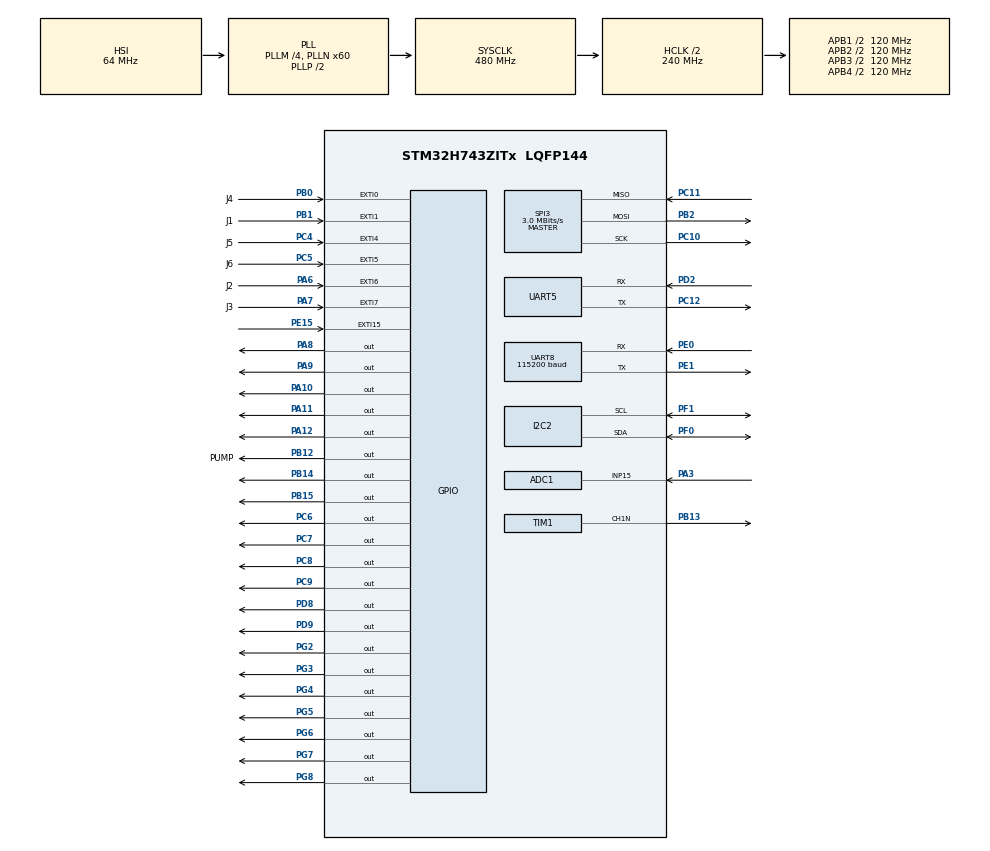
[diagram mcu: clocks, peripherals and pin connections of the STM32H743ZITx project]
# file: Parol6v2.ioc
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ADC1.Channel-2\#ChannelRegularConversion=ADC_CHANNEL_15
ADC1.NbrOfConversionFlag=1
ADC1.OffsetNumber-2\#ChannelRegularConversion=ADC_OFFSET_NONE
ADC1.OffsetSignedSaturation-2\#ChannelRegularConversion=DISABLE
ADC1.Rank-2\#ChannelRegularConversion=1
ADC1.SamplingTime-2\#ChannelRegularConversion=ADC_SAMPLETIME_810CYCLES_5
ADC1.master=1
CORTEX_M7.default_mode_Activation=1
Dma.Request0=SPI3_TX
Dma.Request1=SPI3_RX
Dma.SPI3_RX.1.Direction=DMA_PERIPH_TO_MEMORY
Dma.SPI3_RX.1.EventEnable=DISABLE
Dma.SPI3_RX.1.FIFOMode=DMA_FIFOMODE_DISABLE
Dma.SPI3_RX.1.Instance=DMA1_Stream3
Dma.SPI3_RX.1.MemDataAlignment=DMA_MDATAALIGN_BYTE
Dma.SPI3_RX.1.MemInc=DMA_MINC_ENABLE
Dma.SPI3_RX.1.Mode=DMA_NORMAL
Dma.SPI3_RX.1.PeriphDataAlignment=DMA_PDATAALIGN_BYTE
Dma.SPI3_RX.1.PeriphInc=DMA_PINC_DISABLE
Dma.SPI3_RX.1.Polarity=HAL_DMAMUX_REQ_GEN_RISING
Dma.SPI3_RX.1.Priority=DMA_PRIORITY_LOW
Dma.SPI3_RX.1.RequestNumber=1
Dma.SPI3_RX.1.SignalID=NONE
Dma.SPI3_RX.1.SyncEnable=DISABLE
Dma.SPI3_RX.1.SyncPolarity=HAL_DMAMUX_SYNC_NO_EVENT
Dma.SPI3_RX.1.SyncRequestNumber=1
Dma.SPI3_RX.1.SyncSignalID=NONE
Dma.SPI3_TX.0.Direction=DMA_MEMORY_TO_PERIPH
Dma.SPI3_TX.0.EventEnable=DISABLE
Dma.SPI3_TX.0.FIFOMode=DMA_FIFOMODE_DISABLE
Dma.SPI3_TX.0.Instance=DMA1_Stream2
Dma.SPI3_TX.0.MemDataAlignment=DMA_MDATAALIGN_BYTE
Dma.SPI3_TX.0.MemInc=DMA_MINC_ENABLE
Dma.SPI3_TX.0.Mode=DMA_NORMAL
Dma.SPI3_TX.0.PeriphDataAlignment=DMA_PDATAALIGN_BYTE
Dma.SPI3_TX.0.PeriphInc=DMA_PINC_DISABLE
Dma.SPI3_TX.0.Polarity=HAL_DMAMUX_REQ_GEN_RISING
Dma.SPI3_TX.0.Priority=DMA_PRIORITY_LOW
Dma.SPI3_TX.0.RequestNumber=1
Dma.SPI3_TX.0.SignalID=NONE
Dma.SPI3_TX.0.SyncEnable=DISABLE
Dma.SPI3_TX.0.SyncPolarity=HAL_DMAMUX_SYNC_NO_EVENT
Dma.SPI3_TX.0.SyncRequestNumber=1
Dma.SPI3_TX.0.SyncSignalID=NONE
I2C2.I2C_Fall_Time=100
I2C2.I2C_Rise_Time=100
I2C2.OwnAddress=48
I2C2.Timing=0x30A175AB
Mcu.Family=STM32H7
Mcu.Name=STM32H743ZITx
Mcu.Package=LQFP144
NVIC.ADC_IRQn=true\:0\:0\:false\:false\:true\:true\:true\:true
NVIC.DMA1_Stream2_IRQn=true\:0\:0\:false\:false\:true\:false\:true\:true
NVIC.DMA1_Stream3_IRQn=true\:0\:0\:false\:false\:true\:false\:true\:true
NVIC.EXTI0_IRQn=true\:0\:0\:false\:false\:true\:true\:true\:true
NVIC.EXTI15_10_IRQn=true\:0\:0\:false\:false\:true\:true\:true\:true
NVIC.EXTI1_IRQn=true\:0\:0\:false\:false\:true\:true\:true\:true
NVIC.EXTI4_IRQn=true\:0\:0\:false\:false\:true\:true\:true\:true
NVIC.EXTI9_5_IRQn=true\:0\:0\:false\:false\:true\:true\:true\:true
NVIC.I2C2_ER_IRQn=true\:0\:0\:false\:false\:true\:true\:true\:true
NVIC.I2C2_EV_IRQn=true\:0\:0\:false\:false\:true\:true\:true\:true
NVIC.PriorityGroup=NVIC_PRIORITYGROUP_4
NVIC.SPI3_IRQn=true\:0\:0\:false\:false\:true\:true\:true\:true
NVIC.UART5_IRQn=true\:0\:0\:false\:false\:true\:true\:true\:true
NVIC.UART8_IRQn=true\:0\:0\:false\:false\:true\:true\:true\:true
PA10.GPIO_Speed=GPIO_SPEED_FREQ_HIGH
PA10.PinState=GPIO_PIN_SET
PA10.Signal=GPIO_Output
PA11.GPIO_PuPd=GPIO_NOPULL
PA11.GPIO_Speed=GPIO_SPEED_FREQ_HIGH
PA11.PinState=GPIO_PIN_SET
PA11.Signal=GPIO_Output
PA12.GPIO_PuPd=GPIO_NOPULL
PA12.GPIO_Speed=GPIO_SPEED_FREQ_HIGH
PA12.PinState=GPIO_PIN_SET
PA12.Signal=GPIO_Output
PA3.Signal=ADCx_INP15
PA6.GPIO_Label=J2
PA6.GPIO_ModeDefaultEXTI=GPIO_MODE_IT_RISING_FALLING
PA6.Signal=GPXTI6
PA7.GPIO_Label=J3
PA7.GPIO_ModeDefaultEXTI=GPIO_MODE_IT_RISING_FALLING
PA7.Signal=GPXTI7
PA8.GPIO_PuPd=GPIO_NOPULL
PA8.PinState=GPIO_PIN_RESET
PA8.Signal=GPIO_Output
PA9.GPIO_Speed=GPIO_SPEED_FREQ_HIGH
PA9.PinState=GPIO_PIN_SET
PA9.Signal=GPIO_Output
PB0.GPIO_Label=J4
PB0.GPIO_ModeDefaultEXTI=GPIO_MODE_IT_RISING_FALLING
PB0.Signal=GPXTI0
PB1.GPIO_Label=J1
PB1.GPIO_ModeDefaultEXTI=GPIO_MODE_IT_RISING_FALLING
PB1.Signal=GPXTI1
PB12.GPIO_Label=PUMP
PB12.Signal=GPIO_Output
PB13.Mode=PWM Generation1 CH1N
PB13.Signal=TIM1_CH1N
PB14.Signal=GPIO_Output
PB15.Signal=GPIO_Output
PB2.Mode=Full_Duplex_Master
PB2.Signal=SPI3_MOSI
PC10.GPIO_PuPd=GPIO_PULLUP
PC10.GPIO_Speed=GPIO_SPEED_FREQ_LOW
PC10.Mode=Full_Duplex_Master
PC10.Signal=SPI3_SCK
PC11.Mode=Full_Duplex_Master
PC11.Signal=SPI3_MISO
PC12.Mode=Asynchronous
PC12.Signal=UART5_TX
PC4.GPIO_Label=J5
PC4.GPIO_ModeDefaultEXTI=GPIO_MODE_IT_RISING_FALLING
PC4.Signal=GPXTI4
PC5.GPIO_Label=J6
PC5.GPIO_ModeDefaultEXTI=GPIO_MODE_IT_RISING_FALLING
PC5.Signal=GPXTI5
PC6.GPIO_PuPd=GPIO_NOPULL
PC6.GPIO_Speed=GPIO_SPEED_FREQ_HIGH
PC6.PinState=GPIO_PIN_SET
PC6.Signal=GPIO_Output
PC7.GPIO_PuPd=GPIO_NOPULL
PC7.Signal=GPIO_Output
PC8.GPIO_PuPd=GPIO_PULLDOWN
PC8.Signal=GPIO_Output
PC9.GPIO_PuPd=GPIO_PULLDOWN
PC9.Signal=GPIO_Output
PD2.GPIO_PuPd=GPIO_PULLUP
PD2.Mode=Asynchronous
PD2.Signal=UART5_RX
PD8.Signal=GPIO_Output
PD9.Signal=GPIO_Output
PE0.Mode=Asynchronous
PE0.Signal=UART8_RX
PE1.Mode=Asynchronous
PE1.Signal=UART8_TX
PE15.GPIO_ModeDefaultEXTI=GPIO_MODE_IT_RISING_FALLING
PE15.GPIO_PuPd=GPIO_PULLDOWN
PE15.Signal=GPXTI15
PF0.GPIO_Pu=GPIO_PULLUP
PF0.Mode=I2C
PF0.Signal=I2C2_SDA
PF1.GPIO_Pu=GPIO_PULLUP
PF1.Mode=I2C
PF1.Signal=I2C2_SCL
PG2.GPIO_PuPd=GPIO_NOPULL
PG2.Signal=GPIO_Output
PG3.GPIO_PuPd=GPIO_NOPULL
PG3.Signal=GPIO_Output
PG4.GPIO_PuPd=GPIO_NOPULL
PG4.Signal=GPIO_Output
PG5.GPIO_PuPd=GPIO_NOPULL
PG5.Signal=GPIO_Output
PG6.GPIO_ModeDefaultOutputPP=GPIO_MODE_OUTPUT_PP
PG6.GPIO_PuPd=GPIO_NOPULL
PG6.GPIO_Speed=GPIO_SPEED_FREQ_HIGH
PG6.PinState=GPIO_PIN_SET
PG6.Signal=GPIO_Output
PG7.GPIO_ModeDefaultOutputPP=GPIO_MODE_OUTPUT_PP
PG7.GPIO_PuPd=GPIO_NOPULL
PG7.GPIO_Speed=GPIO_SPEED_FREQ_HIGH
PG7.PinState=GPIO_PIN_SET
PG7.Signal=GPIO_Output
PG8.GPIO_ModeDefaultOutputPP=GPIO_MODE_OUTPUT_PP
PG8.GPIO_PuPd=GPIO_NOPULL
PG8.GPIO_Speed=GPIO_SPEED_FREQ_HIGH
PG8.PinState=GPIO_PIN_SET
PG8.Signal=GPIO_Output
PH0-OSC_IN\ (PH0).Mode=HSE-External-Oscillator
PH0-OSC_IN\ (PH0).Signal=RCC_OSC_IN
PH1-OSC_OUT\ (PH1).Mode=HSE-External-Oscillator
PH1-OSC_OUT\ (PH1).Signal=RCC_OSC_OUT
ProjectManager.HeapSize=0x200
ProjectManager.StackSize=0x400
ProjectManager.TargetToolchain=STM32CubeIDE
RCC.ADCFreq_Value=80000000
RCC.APB1Freq_Value=120000000
RCC.APB2Freq_Value=120000000
RCC.APB3Freq_Value=120000000
RCC.APB4Freq_Value=120000000
RCC.CortexFreq_Value=480000000
RCC.D1PPRE=RCC_APB3_DIV2
RCC.D2PPRE1=RCC_APB1_DIV2
RCC.D2PPRE2=RCC_APB2_DIV2
RCC.D3PPRE=RCC_APB4_DIV2
RCC.DIVM1=4
RCC.DIVM2=4
RCC.DIVN1=60
RCC.DIVN2=10
RCC.DIVQ1=5
RCC.HCLKFreq_Value=240000000
RCC.HPRE=RCC_HCLK_DIV2
RCC.HSE_VALUE=20000000
RCC.PLL2FRACN=0
RCC.PLL3FRACN=0
RCC.PLLFRACN=0
RCC.SYSCLKFreq_VALUE=480000000
RCC.SYSCLKSource=RCC_SYSCLKSOURCE_PLLCLK
RCC.USBFreq_Value=192000000
SH.ADCx_INP15.0=ADC1_INP15,IN15-Single-Ended
SPI3.BaudRatePrescaler=SPI_BAUDRATEPRESCALER_64
SPI3.CLKPhase=SPI_PHASE_2EDGE
SPI3.CLKPolarity=SPI_POLARITY_HIGH
SPI3.CalculateBaudRate=3.0 MBits/s
SPI3.DataSize=SPI_DATASIZE_8BIT
SPI3.Direction=SPI_DIRECTION_2LINES
SPI3.Mode=SPI_MODE_MASTER
SPI3.NSSPMode=SPI_NSS_PULSE_DISABLE
SPI3.VirtualType=VM_MASTER
TIM1.Channel-PWM\ Generation1\ CH1N=TIM_CHANNEL_1
TIM1.Period=999
TIM1.Prescaler=790
UART5.SwapParam=UART_ADVFEATURE_SWAP_ENABLE
UART8.BaudRate=115200
VP_MEMORYMAP_VS_MEMORYMAP.Mode=CurAppReg
board=custom

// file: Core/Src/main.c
/* USER CODE BEGIN Header */
/**
  ******************************************************************************
  * @file           : main.c
  * @brief          : Main program body
  ******************************************************************************
  * @attention
  *
  * Copyright (c) 2025 STMicroelectronics.
  * All rights reserved.
  *
  * This software is licensed under terms that can be found in the LICENSE file
  * in the root directory of this software component.
  * If no LICENSE file comes with this software, it is provided AS-IS.
  *
  ******************************************************************************
  */
/* USER CODE END Header */
#include "main.h"
#include "adc.h"
#include "dma.h"
#include "i2c.h"
#include "spi.h"
#include "tim.h"
#include "usart.h"
#include "gpio.h"

/* USER CODE BEGIN Includes */
#include "tmc5160.h"
#include <stdlib.h>
#include <string.h>
#include <stdio.h>
#include <stdbool.h>
#include "homing.h"
#include "PAROL6.h"
#include "uart.h"
#include "startup.h"
#include "Variables_OT.h"
#include "Variables_GLOBAL.h"
#include "math.h"
#include "CONFIG.h"

/* USER CODE END Includes */

/* USER CODE BEGIN PV */

// Prototypy wewnętrzne (pomocnicze)
void UART8_Send_Internal(const uint8_t* data);
void UART5_Send_Internal(const uint8_t* data);

extern void UART_Direct_Send(const uint8_t* data);

/* USER CODE END PV */

void SystemClock_Config(void);
static void MPU_Config(void);
/* USER CODE BEGIN PFP */
void Parse_And_Execute_Command(uint8_t* data);
void SPI_WaitReady(void);
uint8_t send_message_dma(UART_HandleTypeDef* huart, const uint8_t* msg, uint16_t len);
void UART_Direct_Send(const uint8_t* data);
void Handle_Limit_Switches_Loop(void);
void Handle_ESTOP(void);
/* USER CODE END PFP */

/* USER CODE BEGIN 0 */
void CheckLimitSwitchesOnStartup(void)
{
    uint8_t* states[6] = {&s_j1, &s_j2, &s_j3, &s_j4, &s_j5, &s_j6};
    const uint8_t* msg_H[6] = {msg_h1, msg_h2, msg_h3, msg_h4, msg_h5, msg_h6};
    const uint8_t* msg_R[6] = {msg_r1, msg_r2, msg_r3, msg_r4, msg_r5, msg_r6};

    for (int i = 0; i < 6; i++)
    {
        GPIO_PinState pinState = HAL_GPIO_ReadPin(limit_switch_ports[i], limit_switch_pins[i]);

        if (pinState == GPIO_PIN_RESET)
        {
            *states[i] = 1;
            UART_Direct_Send(msg_H[i]);
        }
        else
        {
            *states[i] = 0;
            UART_Direct_Send(msg_R[i]);
        }
        HAL_Delay(10);
    }
}

void Handle_Position_Reporting(void)
{
    if (HAL_GetTick() - last_pos_report_time < 20) return;

    last_pos_report_time = HAL_GetTick();

    PAROL6_POSITION(current_report_motor_id);

    current_report_motor_id++;
    if (current_report_motor_id >= 6) {
        current_report_motor_id = 0;
    }
}

/* USER CODE END 0 */

int main(void)
{

  /* MPU Configuration--------------------------------------------------------*/
  MPU_Config();

  /* MCU Configuration--------------------------------------------------------*/

  /* Reset of all peripherals, Initializes the Flash interface and the Systick. */
  HAL_Init();

  /* Configure the system clock */
  SystemClock_Config();

  /* Initialize all configured peripherals */
  MX_GPIO_Init();
  MX_DMA_Init();
  MX_SPI3_Init();
  MX_UART8_Init();
  MX_ADC1_Init();
  MX_TIM1_Init();
  MX_I2C2_Init();
  MX_UART5_Init();
  /* USER CODE BEGIN 2 */
  ESTOP_prev_physical = (HAL_GPIO_ReadPin(GPIOE, GPIO_PIN_15) == GPIO_PIN_RESET) ? 1 : 0;
  ESTOP_TRIGGER = ESTOP_prev_physical;

  if(HAL_I2C_Slave_Receive_IT(&hi2c2, I2CrxBuffer, I2C_RX_SIZE) != HAL_OK)
  {
      Error_Handler();
  }

  HAL_ADC_Start(&hadc1);
  HAL_TIMEx_PWMN_Start(&htim1, TIM_CHANNEL_1);
  __HAL_TIM_SET_COMPARE(&htim1, TIM_CHANNEL_1, 0);
    HAL_Delay(500);

    HAL_GPIO_WritePin(GPIOD, GPIO_PIN_8, GPIO_PIN_SET);
    CheckLimitSwitchesOnStartup();

    if (HAL_UARTEx_ReceiveToIdle_IT(&huart8, rx_buffer, RX_BUFFER_SIZE) != HAL_OK)
      {
          Error_Handler();
      }

      if (HAL_UARTEx_ReceiveToIdle_IT(&huart5, rx_buffer5, RX_BUFFER_SIZE) != HAL_OK)
      {
          Error_Handler();
      }

    PAROL6_INIT();
    PAROL6_XACTUAL(0);
    PAROL6_EGRIP_INIT();

    uint8_t ESTOP_INITIAL = HAL_GPIO_ReadPin(GPIOE, GPIO_PIN_15);
    if(ESTOP_INITIAL == 0){
    	ESTOP_TRIGGER = 1;
    }

  /* USER CODE END 2 */

  /* Infinite loop */
  /* USER CODE BEGIN WHILE */
      while (1)
      {
    	  if(ESTOP_Present){
          Handle_ESTOP();
    	  }
          if (new_message_flag)
          {
              __disable_irq();
              char temp[RX_BUFFER_SIZE];
              memset(temp, 0, RX_BUFFER_SIZE);
              memcpy(temp, received_data, RX_BUFFER_SIZE);
              temp[RX_BUFFER_SIZE - 1] = 0;
              new_message_flag = 0;
              __enable_irq();

              if (ESTOP_TRIGGER == 0 || ESTOP_Present == false)
              {
                  Parse_And_Execute_Command((uint8_t*)temp);
              }
          }
              if (new_message_flag5)
              {
                __disable_irq();
                char temp5[RX_BUFFER_SIZE];
                memset(temp5, 0, RX_BUFFER_SIZE);
                memcpy(temp5, received_data5, RX_BUFFER_SIZE);
                temp5[RX_BUFFER_SIZE - 1] = 0;
                new_message_flag5 = 0;
                __enable_irq();

                if (ESTOP_TRIGGER == 0 || ESTOP_Present == false)
                {
                	Parse_And_Execute_Command((uint8_t*)temp5);
                }

          }

          if (ESTOP_TRIGGER == 0 || ESTOP_Present == false)
          {
              HomeAll_Handler();

              if(system_configured == 0 || System_Configured_Command_Present == false)
              {
                  Handle_Limit_Switches_Loop();
                  if(Electric_Gripper_Present){
                  PAROL6_EGRIP_PROCESS();
                  }

                  if(HAL_GetTick() - limitTimer > 50){
                      limitTimer = HAL_GetTick();
                      PAROL6_LIMIT_SWITCH_STATUS();
                  }

                  if (homing_command)
                  {
                      HomeAll_Start();
                      homing_command = 0;
                  }

                  if(Vacuum_Sensor_Present){
                  if (cisnienie < 0.0f)
                  {
                      if (HAL_GetTick() - adc_timer >= 50)
                      {
                          adc_timer = HAL_GetTick();
                          HAL_ADC_Start_IT(&hadc1);

                          sprintf(msg, "P:%.2f\r\n", cisnienie);
                          UART_Direct_Send((uint8_t*)msg);
                      }
                      cisnienie_stan = 1;
                  }

                  else
                  {

                      if (cisnienie_stan == 1)
                      {
                          sprintf(msg, "P:0.0\r\n");
                          UART_Direct_Send((uint8_t*)msg);
                          cisnienie_stan = 0;
                      }

                      if (HAL_GetTick() - adc_timer >= 50)
                      {
                           adc_timer = HAL_GetTick();
                           HAL_ADC_Start_IT(&hadc1);
                      }
                  }

              }

                  if (tool_changer_active && Tool_Change_Present) {
                      PAROL6_TOOL_CHANGE();
                  }

                  if(VGripStatus && Vacuum_Gripper_Present)
                  {
                       __HAL_TIM_SET_COMPARE(&htim1, TIM_CHANNEL_1, 500);
                       if(cisnienie > PUMP_ON_PRESSURE)      HAL_GPIO_WritePin(PUMP_GPIO_Port, PUMP_Pin, GPIO_PIN_SET);
                       else if(cisnienie < PUMP_OFF_PRESSURE) HAL_GPIO_WritePin(PUMP_GPIO_Port, PUMP_Pin, GPIO_PIN_RESET);
                  }
                  else
                  {
                       HAL_GPIO_WritePin(PUMP_GPIO_Port, PUMP_Pin, GPIO_PIN_RESET);
                       __HAL_TIM_SET_COMPARE(&htim1, TIM_CHANNEL_1, 0);
                  }

                 if(STM_Protect_Present){
                  if(HAL_GetTick() - protTimer > 100)
                  {
                      protTimer = HAL_GetTick();
                      static SystemStatus_t lastSentStatus = {0};

                      SystemStatus_t statusSnapshot;

                      __disable_irq();
                      memcpy(&statusSnapshot, &currentStatus, sizeof(SystemStatus_t));
                      __enable_irq();

                      uint8_t shouldSend = 0;

                      if (statusSnapshot.powergood_3v3 != lastSentStatus.powergood_3v3 ||
                          statusSnapshot.powergood_5v  != lastSentStatus.powergood_5v  ||
                          statusSnapshot.power_ok      != lastSentStatus.power_ok      ||
                          statusSnapshot.power_stat    != lastSentStatus.power_stat)
                      {
                          shouldSend = 1;
                      }

                      if (!shouldSend)
                      {
                          if (fabsf(statusSnapshot.temp1 - lastSentStatus.temp1) > TEMP_THRESHOLD ||
                              fabsf(statusSnapshot.temp2 - lastSentStatus.temp2) > TEMP_THRESHOLD ||
                              fabsf(statusSnapshot.temp3 - lastSentStatus.temp3) > TEMP_THRESHOLD ||
                              fabsf(statusSnapshot.temp4 - lastSentStatus.temp4) > TEMP_THRESHOLD)
                          {
                              shouldSend = 1;
                          }
                      }

                      if (shouldSend)
                      {
                          char msg[128];
                          sprintf(msg, "PROT_%d,%d,%d,%d,%.2f,%.2f,%.2f,%.2f\r\n",
                                  statusSnapshot.powergood_3v3,
                                  statusSnapshot.powergood_5v,
                                  statusSnapshot.power_ok,
                                  statusSnapshot.power_stat,
                                  statusSnapshot.temp1,
                                  statusSnapshot.temp2,
                                  statusSnapshot.temp3,
                                  statusSnapshot.temp4
                                 );
                          UART_Direct_Send((uint8_t*)msg);

                          memcpy(&lastSentStatus, &statusSnapshot, sizeof(SystemStatus_t));
                      }

                      PAROL6_MOTOR_CONNECTED();

                  }
                  }
                  if(HAL_GetTick() - positionTimer >= 50) {
                      positionTimer = HAL_GetTick();
                      float angles[6];
                      uint8_t data_changed = 0;
                      for(int i=0; i<6; i++){
                          int32_t raw_pos = TMC5160_ReadRegister((TMC5160_Driver*)motors[i], 0x21);
                          angles[i] = GetRotationAngle((TMC5160_Driver*)motors[i], ratios[i]);
                          if(fabs(angles[i] - prev_angles[i]) > 0.01f) {
                              data_changed = 1;
                          }
                      }
                      if(data_changed) {
                          char big_msg[128];
                          sprintf(big_msg, "A_%.2f_%.2f_%.2f_%.2f_%.2f_%.2f\r\n",
                                  angles[0], angles[1], angles[2],
                                  angles[3], angles[4], angles[5]);
                          UART_Direct_Send((uint8_t*)big_msg);
                          for(int i=0; i<6; i++) prev_angles[i] = angles[i];
                      }
                  }
              }
          }

          else
          {
              HAL_Delay(10);
          }

    /* USER CODE END WHILE */

  }
}

void SystemClock_Config(void)
{
  RCC_OscInitTypeDef RCC_OscInitStruct = {0};
  RCC_ClkInitTypeDef RCC_ClkInitStruct = {0};

  /** Supply configuration update enable
  */
  HAL_PWREx_ConfigSupply(PWR_LDO_SUPPLY);

  /** Configure the main internal regulator output voltage
  */
  __HAL_PWR_VOLTAGESCALING_CONFIG(PWR_REGULATOR_VOLTAGE_SCALE0);

  while(!__HAL_PWR_GET_FLAG(PWR_FLAG_VOSRDY)) {}

  /** Initializes the RCC Oscillators according to the specified parameters
  * in the RCC_OscInitTypeDef structure.
  */
  RCC_OscInitStruct.OscillatorType = RCC_OSCILLATORTYPE_HSI;
  RCC_OscInitStruct.HSIState = RCC_HSI_DIV1;
  RCC_OscInitStruct.HSICalibrationValue = RCC_HSICALIBRATION_DEFAULT;
  RCC_OscInitStruct.PLL.PLLState = RCC_PLL_ON;
  RCC_OscInitStruct.PLL.PLLSource = RCC_PLLSOURCE_HSI;
  RCC_OscInitStruct.PLL.PLLM = 4;
  RCC_OscInitStruct.PLL.PLLN = 60;
  RCC_OscInitStruct.PLL.PLLP = 2;
  RCC_OscInitStruct.PLL.PLLQ = 5;
  RCC_OscInitStruct.PLL.PLLR = 2;
  RCC_OscInitStruct.PLL.PLLRGE = RCC_PLL1VCIRANGE_3;
  RCC_OscInitStruct.PLL.PLLVCOSEL = RCC_PLL1VCOWIDE;
  RCC_OscInitStruct.PLL.PLLFRACN = 0;
  if (HAL_RCC_OscConfig(&RCC_OscInitStruct) != HAL_OK)
  {
    Error_Handler();
  }

  /** Initializes the CPU, AHB and APB buses clocks
  */
  RCC_ClkInitStruct.ClockType = RCC_CLOCKTYPE_HCLK|RCC_CLOCKTYPE_SYSCLK
                              |RCC_CLOCKTYPE_PCLK1|RCC_CLOCKTYPE_PCLK2
                              |RCC_CLOCKTYPE_D3PCLK1|RCC_CLOCKTYPE_D1PCLK1;
  RCC_ClkInitStruct.SYSCLKSource = RCC_SYSCLKSOURCE_PLLCLK;
  RCC_ClkInitStruct.SYSCLKDivider = RCC_SYSCLK_DIV1;
  RCC_ClkInitStruct.AHBCLKDivider = RCC_HCLK_DIV2;
  RCC_ClkInitStruct.APB3CLKDivider = RCC_APB3_DIV2;
  RCC_ClkInitStruct.APB1CLKDivider = RCC_APB1_DIV2;
  RCC_ClkInitStruct.APB2CLKDivider = RCC_APB2_DIV2;
  RCC_ClkInitStruct.APB4CLKDivider = RCC_APB4_DIV2;

  if (HAL_RCC_ClockConfig(&RCC_ClkInitStruct, FLASH_LATENCY_4) != HAL_OK)
  {
    Error_Handler();
  }
}

/* USER CODE BEGIN 4 */

void UART_Direct_Send(const uint8_t* data)
{
    UART8_Send_Internal(data);
    UART5_Send_Internal(data);
}

void UART_TX_Empty_Handler(void)
{
    if (tx_head != tx_tail)
    {
        UART8->TDR = tx_buffer[tx_tail];
        tx_tail = (tx_tail + 1) % TX_BUFFER_SIZE;
    }
    else
    {
        __HAL_UART_DISABLE_IT(&huart8, UART_IT_TXE);
    }
}

void UART5_TX_Empty_Handler(void)
{
    if (tx_head5 != tx_tail5)
    {
        UART5->TDR = tx_buffer5[tx_tail5];
        tx_tail5 = (tx_tail5 + 1) % TX_BUFFER_SIZE;
    }
    else
    {
        __HAL_UART_DISABLE_IT(&huart5, UART_IT_TXE);
    }
}

void Process_Pin_State(GPIO_TypeDef* GPIOx, uint16_t GPIO_Pin, const uint8_t* msg_high, const uint8_t* msg_low, uint8_t* state_variable)
{
    if (HAL_GPIO_ReadPin(GPIOx, GPIO_Pin) == GPIO_PIN_SET)
    {
        UART_Direct_Send(msg_low);
        *state_variable = 0;
    }
    else
    {
        UART_Direct_Send(msg_high);
        *state_variable = 1;
    }
}

void HAL_GPIO_EXTI_Callback(uint16_t GPIO_Pin)
{
    if (GPIO_Pin == GPIO_PIN_15)
    {
        ESTOP_need_check = 1;
    }
    else
    {
        limit_switches_need_check = 1;
    }
}

void Handle_Limit_Switches_Loop(void)
{
    if (!limit_switches_need_check && (HAL_GetTick() - last_limit_check_time < 5)) return;

    last_limit_check_time = HAL_GetTick();
    limit_switches_need_check = 0;

    GPIO_TypeDef* ports[6] = {GPIOB, GPIOA, GPIOA, GPIOB, GPIOC, GPIOC};
    uint16_t pins[6] = {GPIO_PIN_1, GPIO_PIN_6, GPIO_PIN_7, GPIO_PIN_0, GPIO_PIN_4, GPIO_PIN_5};
    uint8_t* states[6] = {&s_j1, &s_j2, &s_j3, &s_j4, &s_j5, &s_j6};
    const uint8_t* msg_H[6] = {msg_h1, msg_h2, msg_h3, msg_h4, msg_h5, msg_h6};
    const uint8_t* msg_R[6] = {msg_r1, msg_r2, msg_r3, msg_r4, msg_r5, msg_r6};

    static uint32_t last_debounce_time[6] = {0};
    static uint8_t  last_raw_state[6] = {0};

    for(int i=0; i<6; i++)
    {
        uint8_t current_reading = (HAL_GPIO_ReadPin(ports[i], pins[i]) == GPIO_PIN_RESET) ? 1 : 0;

        if (current_reading != last_raw_state[i])
        {
            last_debounce_time[i] = HAL_GetTick();
        }
        last_raw_state[i] = current_reading;

        if ((HAL_GetTick() - last_debounce_time[i]) > LIMIT_SWITCH_DEBOUNCE_TIME)
        {
            if (current_reading != *states[i])
            {
                *states[i] = current_reading;
                if (current_reading == 1) UART_Direct_Send(msg_H[i]);
                else                      UART_Direct_Send(msg_R[i]);
                last_sent_state[i] = current_reading;
            }
        }
    }
}

void HAL_UARTEx_RxEventCallback(UART_HandleTypeDef *huart, uint16_t Size)
{
    if (huart->Instance == UART8)
    {
        if (Size > 0)
        {
            if (Size > RX_BUFFER_SIZE - 1) Size = RX_BUFFER_SIZE - 1;
            memcpy(received_data, rx_buffer, Size);
            received_data[Size] = '\0';
            new_message_flag = 1;
        }
        memset(rx_buffer, 0, RX_BUFFER_SIZE);
        HAL_UARTEx_ReceiveToIdle_IT(&huart8, rx_buffer, RX_BUFFER_SIZE);
    }
    else if (huart->Instance == UART5)
    {
        if (Size > 0)
        {
            if (Size > RX_BUFFER_SIZE - 1) Size = RX_BUFFER_SIZE - 1;
            memcpy(received_data5, rx_buffer5, Size);
            received_data5[Size] = '\0';
            new_message_flag5 = 1;
        }
        memset(rx_buffer5, 0, RX_BUFFER_SIZE);
        HAL_UARTEx_ReceiveToIdle_IT(&huart5, rx_buffer5, RX_BUFFER_SIZE);
    }
}

void HAL_UART_ErrorCallback(UART_HandleTypeDef *huart)
{
    if (huart->Instance == UART8)
    {
        HAL_UART_Abort(huart);
        HAL_UART_AbortReceive(huart);
        HAL_UART_AbortTransmit(huart);
        HAL_UART_DeInit(huart);
        __HAL_UART_CLEAR_OREFLAG(huart);
        __HAL_UART_CLEAR_NEFLAG(huart);
        __HAL_UART_CLEAR_FEFLAG(huart);
        MX_UART8_Init();
        memset(rx_buffer, 0, RX_BUFFER_SIZE);
        HAL_UARTEx_ReceiveToIdle_IT(&huart8, rx_buffer, RX_BUFFER_SIZE);
    }
    else if (huart->Instance == UART5)
    {
        HAL_UART_Abort(huart);
        HAL_UART_AbortReceive(huart);
        HAL_UART_AbortTransmit(huart);
        HAL_UART_DeInit(huart);
        __HAL_UART_CLEAR_OREFLAG(huart);
        __HAL_UART_CLEAR_NEFLAG(huart);
        __HAL_UART_CLEAR_FEFLAG(huart);
        MX_UART5_Init();
        memset(rx_buffer5, 0, RX_BUFFER_SIZE);
        HAL_UARTEx_ReceiveToIdle_IT(&huart5, rx_buffer5, RX_BUFFER_SIZE);
    }
}

void HAL_SPI_TxCpltCallback(SPI_HandleTypeDef *hspi) {
    if (hspi->Instance == SPI3) spi_ready = 1;
}

void HAL_SPI_TxRxCpltCallback(SPI_HandleTypeDef *hspi) {
    if (hspi->Instance == SPI3) spi_ready = 1;
}

void HAL_ADC_ConvCpltCallback(ADC_HandleTypeDef *hadc)
{
    if (hadc->Instance == ADC1)
    {
        static uint32_t adc_accumulator = 0;
        static uint8_t adc_sample_idx = 0;

        adc_accumulator += HAL_ADC_GetValue(hadc);
        adc_sample_idx++;

        if (adc_sample_idx >= ADC_SAMPLES_COUNT)
        {
            uint32_t adc_avg = adc_accumulator / ADC_SAMPLES_COUNT;
            const float VS = 5.0f;
            float vout = (float)adc_avg * VS / 65535.0f;
            float raw_pressure = (vout / VS - 0.92f) / 0.007652f;

            if (raw_pressure > -0.03f)
            {
                cisnienie = 0.0f;
            }
            else
            {
                cisnienie = raw_pressure;
            }

            adc_accumulator = 0;
            adc_sample_idx = 0;
        }
    }
}

void SPI_WaitReady(void)
{
    while (!spi_ready) {}
}

void HAL_I2C_SlaveRxCpltCallback(I2C_HandleTypeDef *hi2c)
{
    if (hi2c->Instance == I2C2)
    {
        memcpy(&currentStatus, I2CrxBuffer, I2C_RX_SIZE);
        HAL_I2C_Slave_Receive_IT(&hi2c2, I2CrxBuffer, I2C_RX_SIZE);
    }
}

void HAL_I2C_ErrorCallback(I2C_HandleTypeDef *hi2c)
{
    if (hi2c->Instance == I2C2)
    {
        __HAL_I2C_CLEAR_FLAG(hi2c, I2C_FLAG_AF | I2C_FLAG_BERR | I2C_FLAG_OVR | I2C_FLAG_ARLO);
        HAL_I2C_Slave_Receive_IT(&hi2c2, I2CrxBuffer, I2C_RX_SIZE);
    }
}

void Handle_ESTOP(void)
{
    static uint32_t last_stable_time = 0;
    static uint8_t  last_raw_state = 0;
    static uint8_t  current_stable_state = 255;

    uint8_t raw_state = (HAL_GPIO_ReadPin(GPIOE, GPIO_PIN_15) == GPIO_PIN_RESET) ? 1 : 0;

    if (current_stable_state == 255) {
        current_stable_state = raw_state;
        ESTOP_prev_physical = raw_state;
        last_raw_state = raw_state;
        last_stable_time = HAL_GetTick();
        return;
    }

    if (raw_state != last_raw_state) {
        last_stable_time = HAL_GetTick();
    }
    last_raw_state = raw_state;

    if ((HAL_GetTick() - last_stable_time) > ESTOP_FILTER_MS)
    {
        if (raw_state != current_stable_state)
        {
            current_stable_state = raw_state;

            if (current_stable_state == 1)
            {
                ESTOP_TRIGGER = 1;
                UART_Direct_Send((uint8_t*)"ESTOP_TRIGGER\r\n");
                PAROL6_EMERGENCY_STOP();
            }
            else
            {
                ESTOP_TRIGGER = 0;
                UART_Direct_Send((uint8_t*)"ESTOP_RELEASE\r\n");
                PAROL6_RESUME();
            }
            ESTOP_prev_physical = current_stable_state;
        }
    }
    ESTOP_need_check = 0;
}

void UART8_Send_Internal(const uint8_t* data)
{
    while (*data)
    {
        uint16_t next_head = (tx_head + 1) % TX_BUFFER_SIZE;
        if (next_head != tx_tail)
        {
            tx_buffer[tx_head] = *data;
            tx_head = next_head;
        }
        data++;
    }
    __HAL_UART_ENABLE_IT(&huart8, UART_IT_TXE);
}

void UART5_Send_Internal(const uint8_t* data)
{
    while (*data)
    {
        uint16_t next_head = (tx_head5 + 1) % TX_BUFFER_SIZE;
        if (next_head != tx_tail5)
        {
            tx_buffer5[tx_head5] = *data;
            tx_head5 = next_head;
        }
        data++;
    }
    __HAL_UART_ENABLE_IT(&huart5, UART_IT_TXE);
}

/* USER CODE END 4 */

 /* MPU Configuration */

void MPU_Config(void)
{
  MPU_Region_InitTypeDef MPU_InitStruct = {0};

  /* Disables the MPU */
  HAL_MPU_Disable();

  /** Initializes and configures the Region and the memory to be protected
  */
  MPU_InitStruct.Enable = MPU_REGION_ENABLE;
  MPU_InitStruct.Number = MPU_REGION_NUMBER0;
  MPU_InitStruct.BaseAddress = 0x0;
  MPU_InitStruct.Size = MPU_REGION_SIZE_4GB;
  MPU_InitStruct.SubRegionDisable = 0x87;
  MPU_InitStruct.TypeExtField = MPU_TEX_LEVEL0;
  MPU_InitStruct.AccessPermission = MPU_REGION_NO_ACCESS;
  MPU_InitStruct.DisableExec = MPU_INSTRUCTION_ACCESS_DISABLE;
  MPU_InitStruct.IsShareable = MPU_ACCESS_SHAREABLE;
  MPU_InitStruct.IsCacheable = MPU_ACCESS_NOT_CACHEABLE;
  MPU_InitStruct.IsBufferable = MPU_ACCESS_NOT_BUFFERABLE;

  HAL_MPU_ConfigRegion(&MPU_InitStruct);
  /* Enables the MPU */
  HAL_MPU_Enable(MPU_PRIVILEGED_DEFAULT);

}

void Error_Handler(void)
{
  __disable_irq();
  while (1)
  {
  }
}
#ifdef USE_FULL_ASSERT
/**
  * @brief  Reports the name of the source file and the source line number
  * where the assert_param error has occurred.
  * @param  file: pointer to the source file name
  * @param  line: assert_param error line source number
  * @retval None
  */
void assert_failed(uint8_t *file, uint32_t line)
{
  /* USER CODE BEGIN 6 */
  /* Możesz dodać printf tutaj do debugowania */
  /* USER CODE END 6 */
}
#endif /* USE_FULL_ASSERT */
